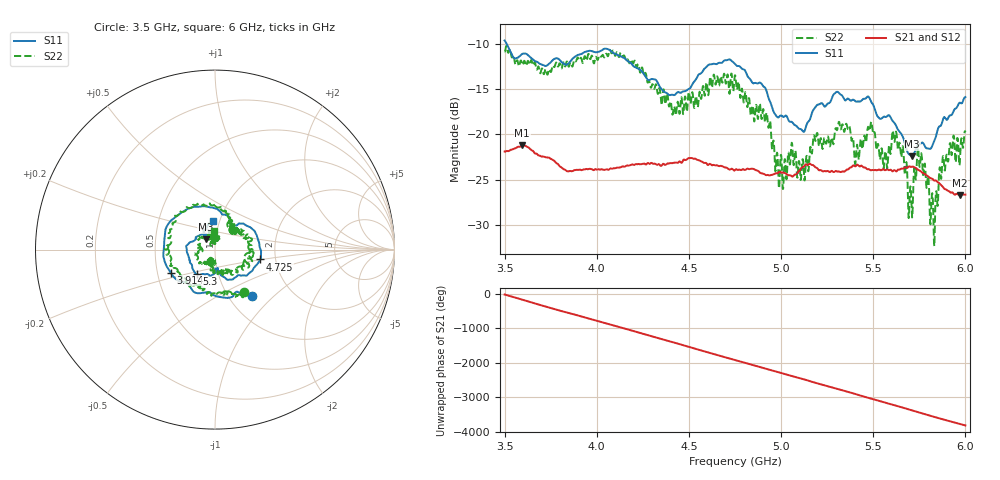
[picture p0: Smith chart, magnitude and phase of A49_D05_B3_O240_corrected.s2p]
! Created with skrf 1.9.0 (http://scikit-rf.org).
# Hz S RI R 50.0
!freq ReS11 ImS11 ReS21 ImS21 ReS12 ImS12 ReS22 ImS22
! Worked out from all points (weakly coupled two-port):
!   1601 points, 3.5 GHz to 6 GHz, reference 50 ohm
!   highest |S21| = -21.22 dB at 3.595 GHz (marker M1); lowest = -26.7 dB at 5.969 GHz (marker M2)
!   lowest |S11| = -22.4 dB at 5.711 GHz (marker M3), VSWR 1.16, Z = 45 + j5.14 ohm
!   |S11| at or under -10 dB: 3.512 GHz to end of sweep
!   |S22| runs from -32.4 to -10.2 dB; largest |S21 - S12| = 0.0011
!   S11 on the Smith chart (normalised r, x): 3.5 GHz: 1.28, -0.74; 3.914 GHz: 0.59, -0.16; 4.725 GHz: 1.66, -0.20; 5.3 GHz: 0.79, -0.22; 6 GHz: 0.93, +0.31
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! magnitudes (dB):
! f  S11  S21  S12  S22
! 3.5 GHz  -9.6  -21.9  -21.9  -10.8
! 3.595 GHz  -11.1  -21.2  -21.2  -12.3
! 3.914 GHz  -11.1  -23.9  -23.9  -11.5
! 3.917 GHz  -11.1  -24.0  -23.9  -11.6
! 4.139 GHz  -11.5  -23.6  -23.5  -11.3
! 4.334 GHz  -14.4  -23.3  -23.2  -15.4
! 4.42 GHz  -15.7  -23.2  -23.1  -16.9
! 4.725 GHz  -11.7  -23.9  -23.8  -14.4
! 4.75 GHz  -12.2  -24.0  -23.9  -13.5
! 4.93 GHz  -15.8  -24.5  -24.4  -19.1
! 5 GHz  -17.9  -24.3  -24.2  -22.3
! 5.167 GHz  -17.6  -23.4  -23.3  -22.1
! 5.3 GHz  -15.3  -24.1  -24.0  -19.4
! 5.483 GHz  -16.1  -23.9  -23.9  -19.3
! 5.584 GHz  -17.9  -24.0  -23.9  -21.4
! 5.617 GHz  -18.8  -24.0  -23.9  -20.7
! 5.711 GHz  -22.4  -23.6  -23.5  -29.2
! 5.752 GHz  -21.1  -24.0  -23.9  -23.6
! 5.822 GHz  -21.2  -24.9  -24.9  -26.8
! 5.87 GHz  -18.9  -25.7  -25.6  -24.6
! 5.969 GHz  -16.5  -26.7  -26.7  -23.3
! 6 GHz  -15.9  -26.7  -26.6  -19.7
